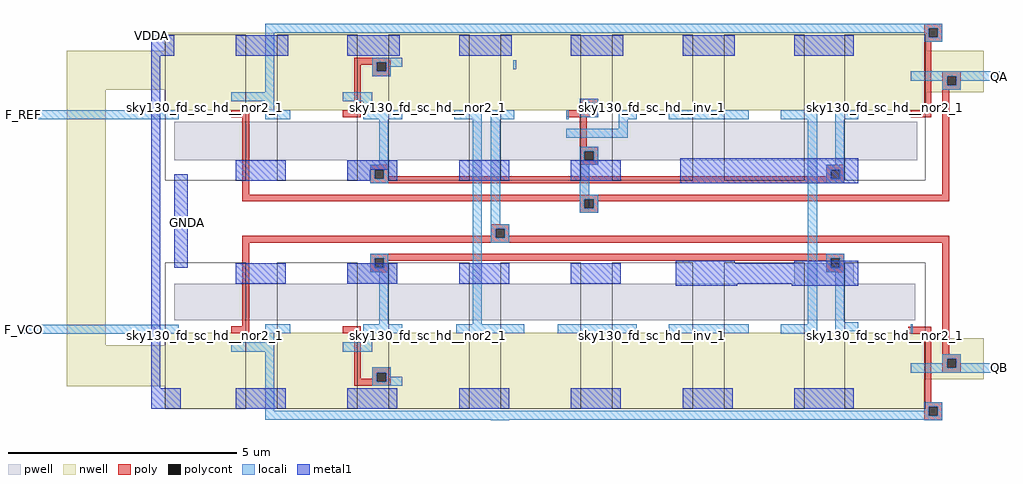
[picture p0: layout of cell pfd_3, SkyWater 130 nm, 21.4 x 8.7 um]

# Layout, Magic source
magic
tech sky130A
magscale 1 2
<< nwell >>
rect -30 520 3310 600
rect -460 350 3560 520
rect -460 -770 -290 350
rect -30 340 3560 350
rect -30 260 3310 340
rect -30 -720 3250 -716
rect -30 -740 3300 -720
rect -30 -770 3560 -740
rect -460 -920 3560 -770
rect -460 -950 3300 -920
rect -30 -1048 3300 -950
<< pwell >>
rect 10 40 3270 210
rect 770 0 990 40
rect 770 -50 870 0
rect 950 -50 990 0
rect 1790 20 1870 40
rect 1790 -190 1830 20
rect 770 -500 990 -410
rect 2730 -500 2990 -410
rect 10 -660 3260 -500
<< poly >>
rect 3300 620 3380 640
rect 3300 580 3320 620
rect 3360 580 3380 620
rect 3300 560 3380 580
rect 800 470 960 490
rect 800 460 900 470
rect 800 260 830 460
rect 880 430 900 460
rect 940 430 960 470
rect 880 410 960 430
rect 1790 290 1870 310
rect 1790 260 1810 290
rect 260 230 340 260
rect 750 230 830 260
rect 1730 250 1810 260
rect 1850 250 1870 290
rect 3300 260 3330 560
rect 1730 230 1870 250
rect 3240 230 3330 260
rect 3380 410 3460 430
rect 3380 370 3400 410
rect 3440 370 3460 410
rect 3380 350 3460 370
rect 310 -110 340 230
rect 1790 100 1820 230
rect 1790 80 1870 100
rect 1790 40 1810 80
rect 1850 40 1870 80
rect 1790 20 1870 40
rect 870 0 950 20
rect 870 -40 890 0
rect 930 -30 950 0
rect 2870 0 2950 20
rect 2870 -30 2890 0
rect 930 -40 2890 -30
rect 2930 -40 2950 0
rect 870 -60 2950 -40
rect 3380 -110 3410 350
rect 310 -130 3410 -110
rect 310 -140 1810 -130
rect 1790 -170 1810 -140
rect 1850 -140 3410 -130
rect 1850 -170 1870 -140
rect 1790 -190 1870 -170
rect 1400 -260 1480 -240
rect 1400 -290 1420 -260
rect 310 -300 1420 -290
rect 1460 -290 1480 -260
rect 1460 -300 3410 -290
rect 310 -320 3410 -300
rect 310 -688 340 -320
rect 870 -390 2950 -370
rect 870 -430 890 -390
rect 930 -400 2890 -390
rect 930 -430 950 -400
rect 870 -450 950 -430
rect 2870 -430 2890 -400
rect 2930 -430 2950 -390
rect 2870 -450 2950 -430
rect 260 -718 340 -688
rect 750 -718 830 -688
rect 3240 -690 3250 -688
rect 800 -918 830 -718
rect 3230 -720 3330 -690
rect 880 -890 960 -868
rect 880 -918 900 -890
rect 800 -930 900 -918
rect 940 -930 960 -890
rect 800 -948 960 -930
rect 3300 -1020 3330 -720
rect 3380 -810 3410 -320
rect 3380 -830 3460 -810
rect 3380 -870 3400 -830
rect 3440 -870 3460 -830
rect 3380 -890 3460 -870
rect 3300 -1040 3380 -1020
rect 3300 -1080 3320 -1040
rect 3360 -1080 3380 -1040
rect 3300 -1100 3380 -1080
<< polycont >>
rect 3320 580 3360 620
rect 900 430 940 470
rect 1810 250 1850 290
rect 3400 370 3440 410
rect 1810 40 1850 80
rect 890 -40 930 0
rect 2890 -40 2930 0
rect 1810 -170 1850 -130
rect 1420 -300 1460 -260
rect 890 -430 930 -390
rect 2890 -430 2930 -390
rect 900 -930 940 -890
rect 3400 -870 3440 -830
rect 3320 -1080 3360 -1040
<< locali >>
rect 410 620 3380 640
rect 410 600 3320 620
rect 410 340 450 600
rect 3300 580 3320 600
rect 3360 580 3380 620
rect 3300 560 3380 580
rect 880 470 1010 490
rect 880 430 900 470
rect 940 450 1010 470
rect 940 430 960 450
rect 1498 440 1510 480
rect 880 410 960 430
rect 3240 410 3630 430
rect 3240 390 3400 410
rect 3380 370 3400 390
rect 3440 390 3630 410
rect 3440 370 3460 390
rect 3380 350 3460 370
rect 260 300 450 340
rect 750 300 880 340
rect 410 260 450 300
rect 840 260 880 300
rect 1790 290 1870 310
rect -650 220 30 260
rect 410 220 520 260
rect 840 220 1010 260
rect 1240 220 1360 260
rect 910 20 950 220
rect 870 0 950 20
rect 870 -40 890 0
rect 930 -40 950 0
rect 870 -60 950 -40
rect 870 -390 950 -370
rect 870 -430 890 -390
rect 930 -430 950 -390
rect 870 -450 950 -430
rect 910 -678 950 -450
rect 1320 -678 1360 220
rect 1400 220 1502 260
rect 1730 220 1740 260
rect 1790 250 1810 290
rect 1850 250 1870 290
rect 1790 230 1870 250
rect 1960 220 2040 260
rect 2180 220 2530 260
rect 2670 220 2830 260
rect 1400 -240 1440 220
rect 1960 180 2000 220
rect 1730 140 2000 180
rect 1790 80 1870 100
rect 1790 40 1810 80
rect 1850 40 1870 80
rect 1790 20 1870 40
rect 1790 -110 1830 20
rect 1790 -130 1870 -110
rect 1790 -170 1810 -130
rect 1850 -170 1870 -130
rect 1790 -190 1870 -170
rect 1400 -260 1480 -240
rect 1400 -300 1420 -260
rect 1460 -300 1480 -260
rect 1400 -320 1480 -300
rect 2790 -678 2830 220
rect 2910 220 3010 260
rect 2910 20 2950 220
rect 2870 0 2950 20
rect 2870 -40 2890 0
rect 2930 -40 2950 0
rect 2870 -60 2950 -40
rect 2870 -390 2950 -370
rect 2870 -430 2890 -390
rect 2930 -430 2950 -390
rect 2870 -450 2950 -430
rect -650 -720 30 -680
rect 410 -718 520 -678
rect 840 -718 1010 -678
rect 1248 -718 1546 -678
rect 1692 -718 2040 -678
rect 2180 -718 2530 -678
rect 2670 -718 2830 -678
rect 2910 -670 2950 -450
rect 2910 -710 3010 -670
rect 3240 -718 3250 -678
rect 410 -758 450 -718
rect 840 -758 880 -718
rect 2670 -720 2790 -718
rect 260 -798 450 -758
rect 750 -798 880 -758
rect 410 -1058 450 -798
rect 3380 -830 3460 -810
rect 3380 -850 3400 -830
rect 880 -890 960 -868
rect 3240 -870 3400 -850
rect 3440 -850 3460 -830
rect 3440 -870 3630 -850
rect 3240 -890 3630 -870
rect 880 -930 900 -890
rect 940 -908 960 -890
rect 940 -930 1010 -908
rect 880 -948 1010 -930
rect 3300 -1040 3380 -1020
rect 3300 -1058 3320 -1040
rect 410 -1080 3320 -1058
rect 3360 -1080 3380 -1040
rect 410 -1098 3380 -1080
rect 1400 -1100 1480 -1098
rect 3300 -1100 3380 -1098
<< metal1 >>
rect -90 500 10 590
rect 280 500 510 590
rect 770 500 1000 590
rect 1260 500 1490 590
rect 1750 500 1980 590
rect 2240 500 2470 590
rect 2730 500 2990 590
rect -90 -960 -50 500
rect 10 -430 70 -20
rect 280 -50 500 40
rect 770 0 990 40
rect 770 -50 870 0
rect 950 -50 990 0
rect 1260 -50 1480 40
rect 1750 -50 1970 40
rect 2230 -60 3010 50
rect 2210 -410 2470 -400
rect 2730 -410 3010 -400
rect 280 -500 500 -410
rect 770 -500 990 -410
rect 1260 -500 1480 -410
rect 1750 -500 1970 -410
rect 2210 -500 3010 -410
rect 2210 -510 2480 -500
rect 2720 -510 3010 -500
rect -90 -1050 39 -960
rect 280 -1050 500 -960
rect 770 -1050 990 -960
rect 1260 -1050 1480 -960
rect 1750 -1050 1970 -960
rect 2240 -1050 2460 -960
rect 2730 -1050 2990 -960
use sky130_fd_sc_hd__inv_1  sky130_fd_sc_hd__inv_1_0 $PDKPATH/libs.ref/sky130_fd_sc_hd/mag
transform -1 0 2246 0 -1 -456
box -38 -48 314 592
use sky130_fd_sc_hd__inv_1  sky130_fd_sc_hd__inv_1_1
transform -1 0 1756 0 -1 -456
box -38 -48 314 592
use sky130_fd_sc_hd__inv_1  sky130_fd_sc_hd__inv_1_2
transform 1 0 1970 0 1 0
box -38 -48 314 592
use sky130_fd_sc_hd__inv_1  sky130_fd_sc_hd__inv_1_3
transform 1 0 2460 0 1 0
box -38 -48 314 592
use sky130_fd_sc_hd__inv_1  sky130_fd_sc_hd__inv_1_4
transform -1 0 2736 0 -1 -456
box -38 -48 314 592
use sky130_fd_sc_hd__nand2_1  sky130_fd_sc_hd__nand2_1_1 $PDKPATH/libs.ref/sky130_fd_sc_hd/mag
transform 1 0 1480 0 1 0
box -38 -48 314 592
use sky130_fd_sc_hd__nor2_1  sky130_fd_sc_hd__nor2_1_0 $PDKPATH/libs.ref/sky130_fd_sc_hd/mag
transform -1 0 286 0 -1 -456
box -38 -48 314 592
use sky130_fd_sc_hd__nor2_1  sky130_fd_sc_hd__nor2_1_1
transform -1 0 3266 0 -1 -456
box -38 -48 314 592
use sky130_fd_sc_hd__nor2_1  sky130_fd_sc_hd__nor2_1_2
transform -1 0 776 0 -1 -456
box -38 -48 314 592
use sky130_fd_sc_hd__nor2_1  sky130_fd_sc_hd__nor2_1_3
transform 1 0 990 0 -1 -456
box -38 -48 314 592
use sky130_fd_sc_hd__nor2_1  sky130_fd_sc_hd__nor2_1_4
transform -1 0 286 0 1 0
box -38 -48 314 592
use sky130_fd_sc_hd__nor2_1  sky130_fd_sc_hd__nor2_1_5
transform -1 0 776 0 1 0
box -38 -48 314 592
use sky130_fd_sc_hd__nor2_1  sky130_fd_sc_hd__nor2_1_6
transform 1 0 990 0 1 0
box -38 -48 314 592
use sky130_fd_sc_hd__nor2_1  sky130_fd_sc_hd__nor2_1_7
transform -1 0 3266 0 1 0
box -38 -48 314 592
<< labels >>
flabel locali -650 240 -650 240 7 FreeSans 320 0 -160 0 F_REF
port 1 w
flabel locali -650 -700 -650 -700 7 FreeSans 320 0 -160 0 F_VCO
port 2 w
flabel locali 3630 -870 3630 -870 3 FreeSans 320 0 160 0 QB
port 4 e
flabel locali 3630 410 3630 410 3 FreeSans 320 0 160 0 QA
port 3 e
flabel metal1 -90 590 -90 590 7 FreeSans 320 0 -160 0 VDDA
port 5 w
flabel metal1 70 -230 70 -230 3 FreeSans 320 0 160 0 GNDA
port 6 e
<< end >>
